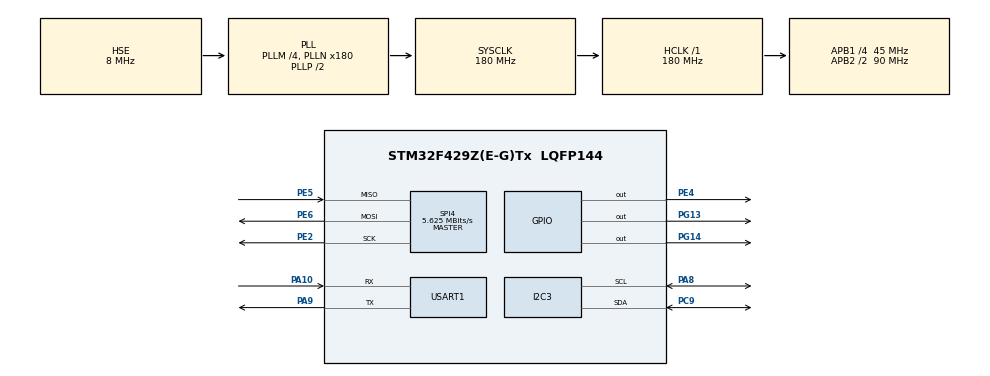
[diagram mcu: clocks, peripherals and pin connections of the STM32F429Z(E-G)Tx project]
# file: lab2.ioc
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I2C3.I2C_Mode=I2C_Fast
Mcu.Family=STM32F4
Mcu.Name=STM32F429Z(E-G)Tx
Mcu.Package=LQFP144
NVIC.PriorityGroup=NVIC_PRIORITYGROUP_4
NVIC.RCC_IRQn=true\:0\:0\:false\:false\:true\:true\:false\:true
NVIC.USART1_IRQn=true\:0\:0\:false\:false\:true\:true\:true\:true
PA10.Mode=Asynchronous
PA10.Signal=USART1_RX
PA13.Mode=Serial_Wire
PA13.Signal=SYS_JTMS-SWDIO
PA14.Mode=Serial_Wire
PA14.Signal=SYS_JTCK-SWCLK
PA8.Mode=I2C
PA8.Signal=I2C3_SCL
PA9.Mode=Asynchronous
PA9.Signal=USART1_TX
PC9.Mode=I2C
PC9.Signal=I2C3_SDA
PE2.Mode=Full_Duplex_Master
PE2.Signal=SPI4_SCK
PE4.Signal=GPIO_Output
PE5.Mode=Full_Duplex_Master
PE5.Signal=SPI4_MISO
PE6.Mode=Full_Duplex_Master
PE6.Signal=SPI4_MOSI
PG13.Signal=GPIO_Output
PG14.Signal=GPIO_Output
PH0/OSC_IN.Mode=HSE-External-Oscillator
PH0/OSC_IN.Signal=RCC_OSC_IN
PH1/OSC_OUT.Mode=HSE-External-Oscillator
PH1/OSC_OUT.Signal=RCC_OSC_OUT
ProjectManager.HeapSize=0x200
ProjectManager.StackSize=0x400
ProjectManager.TargetToolchain=STM32CubeIDE
RCC.48MHZClocksFreq_Value=90000000
RCC.AHBFreq_Value=180000000
RCC.APB1CLKDivider=RCC_HCLK_DIV4
RCC.APB1Freq_Value=45000000
RCC.APB1TimFreq_Value=90000000
RCC.APB2CLKDivider=RCC_HCLK_DIV2
RCC.APB2Freq_Value=90000000
RCC.APB2TimFreq_Value=180000000
RCC.CortexFreq_Value=180000000
RCC.HCLKFreq_Value=180000000
RCC.HSE_VALUE=8000000
RCC.HSI_VALUE=16000000
RCC.LSE_VALUE=32768
RCC.PLLM=4
RCC.PLLN=180
RCC.PLLSourceVirtual=RCC_PLLSOURCE_HSE
RCC.SYSCLKFreq_VALUE=180000000
RCC.SYSCLKSource=RCC_SYSCLKSOURCE_PLLCLK
RCC.VCOOutputFreq_Value=360000000
SPI4.BaudRatePrescaler=SPI_BAUDRATEPRESCALER_16
SPI4.CalculateBaudRate=5.625 MBits/s
SPI4.Direction=SPI_DIRECTION_2LINES
SPI4.Mode=SPI_MODE_MASTER
SPI4.VirtualType=VM_MASTER
USART1.Parity=PARITY_NONE
USART1.VirtualMode=VM_ASYNC
board=custom

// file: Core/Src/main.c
/* USER CODE BEGIN Header */
/**
  ******************************************************************************
  * @file           : main.c
  * @brief          : Main program body
  ******************************************************************************
  * @attention
  *
  * Copyright (c) 2025 STMicroelectronics.
  * All rights reserved.
  *
  * This software is licensed under terms that can be found in the LICENSE file
  * in the root directory of this software component.
  * If no LICENSE file comes with this software, it is provided AS-IS.
  *
  ******************************************************************************
  */
/* USER CODE END Header */
#include "main.h"

/* USER CODE BEGIN Includes */
#include "fonts.h"
#include "SH1106.h"
#include "tm_stm32f4_mfrc522.h"
/* USER CODE END Includes */

/* USER CODE BEGIN PD */
#define MAX_LOGS 100
#define MAX_KEYS 10
/* USER CODE END PD */

I2C_HandleTypeDef hi2c3;

SPI_HandleTypeDef hspi4;

UART_HandleTypeDef huart1;

/* USER CODE BEGIN PV */
uint8_t uart_rx;
/* USER CODE END PV */

void SystemClock_Config(void);
static void MX_GPIO_Init(void);
static void MX_I2C3_Init(void);
static void MX_SPI4_Init(void);
static void MX_USART1_UART_Init(void);

/* USER CODE BEGIN 0 */
// Hàm chuyển đổi binary sang BCD
uint8_t bin2bcd(uint8_t val) {
    return ((val / 10) << 4) | (val % 10);
}

// Hàm chuyển đổi BCD sang binary
uint8_t bcd2bin(uint8_t val) {
    return ((val >> 4) * 10) + (val & 0x0F);
}
struct Time {
    uint8_t sec;
    uint8_t min;
    uint8_t hour;
    uint8_t weekday;
    uint8_t day;
    uint8_t month;
    uint8_t year;
};

// Hàm ghi thời gian vào DS1307
    void SetTime(struct Time *time) {
        struct Time bcdTime;

        bcdTime.sec = bin2bcd(time->sec) & 0x7F; // Clear CH bit (bit7)
        bcdTime.min = bin2bcd(time->min);
        bcdTime.hour = bin2bcd(time->hour) & 0x3F; // 24-hour mode (bit6=0)
        bcdTime.weekday = bin2bcd(time->weekday);
        bcdTime.day = bin2bcd(time->day);
        bcdTime.month = bin2bcd(time->month);
        bcdTime.year = bin2bcd(time->year);

        HAL_I2C_Mem_Write(&hi2c3, 0xD0, 0, 1, (uint8_t *)&bcdTime, 7, 1000);
    }

    // Hàm đọc thời gian từ DS1307 (đã cập nhật xử lý BCD)
    void GetTime(struct Time *time) {
        struct Time bcdTime;
        HAL_I2C_Mem_Read(&hi2c3, 0xD1, 0, 1, (uint8_t *)&bcdTime, 7, 1000);

        time->sec = bcd2bin(bcdTime.sec & 0x7F); // Mask out CH bit
        time->min = bcd2bin(bcdTime.min);
        time->hour = bcd2bin(bcdTime.hour & 0x3F); // Mask out 12/24 mode bit
        time->weekday = bcd2bin(bcdTime.weekday);
        time->day = bcd2bin(bcdTime.day);
        time->month = bcd2bin(bcdTime.month);
        time->year = bcd2bin(bcdTime.year);
    }

uint8_t authKeys[MAX_KEYS][5];
int authCount = 1;

uint8_t cardID[5];
char buf[100];

// Hàm kiểm tra mã thẻ hợp lệ
int isAuthorized(uint8_t *id) {
    for (int i = 0; i < authCount; i++) {
        if (memcmp(id, authKeys[i], 5) == 0)
            return 1;
    }
    return 0;
}
typedef struct {
    uint8_t time[3];      // [giây, phút, giờ]
    uint8_t cardID[5];    // mã thẻ RFID
} DoorLog;
DoorLog logs[MAX_LOGS];
uint8_t logCount = 0;
void save_log(uint8_t *cardID, uint8_t *time) {
    if (logCount < MAX_LOGS) {
        memcpy(logs[logCount].cardID, cardID, 5);
        memcpy(logs[logCount].time, time, 3); // time[0]=sec, time[1]=min, time[2]=hour
        logCount++;
    }
}
void HAL_UART_RxCpltCallback(UART_HandleTypeDef *huart) {
    if (huart->Instance == USART1) {
        if (uart_rx == 'L') {
            show_logs();  // Gửi toàn bộ log khi nhận ký tự 'L'
        }

        // Nhận lại tiếp ký tự tiếp theo
        HAL_UART_Receive_IT(&huart1, &uart_rx, 1);
    }
}

void show_logs() {
    char buffer[100];
    for (int i = 0; i < logCount; i++) {
        sprintf(buffer, "Log %02d: %02X%02X%02X%02X%02X at %02d:%02d:%02d\r\n", i + 1,
                logs[i].cardID[0], logs[i].cardID[1], logs[i].cardID[2],
                logs[i].cardID[3], logs[i].cardID[4],
                logs[i].time[2], logs[i].time[1], logs[i].time[0]);
        HAL_UART_Transmit(&huart1, (uint8_t*)buffer, strlen(buffer), HAL_MAX_DELAY);
    }
}
/* USER CODE END 0 */

int main(void)
{

  /* MCU Configuration--------------------------------------------------------*/

  /* Reset of all peripherals, Initializes the Flash interface and the Systick. */
  HAL_Init();

  /* Configure the system clock */
  SystemClock_Config();

  /* Initialize all configured peripherals */
  MX_GPIO_Init();
  MX_I2C3_Init();
  MX_SPI4_Init();
  MX_USART1_UART_Init();
  /* USER CODE BEGIN 2 */
  TM_MFRC522_Init();
//  char buf[100];
//  uint8_t X = 0, Y = 0;
//  SH1106_Init ();
//
        char buff[30];
//
      uint8_t defaultCard[5] = {0xA3, 0x1E, 0x31, 0xB9, 0x35};
      memcpy(authKeys[0], defaultCard, 5);
      authCount = 1;
      struct Time currentTime = {
           .sec = 50,
           .min = 59,
           .hour = 23,
           .weekday = 5,
           .day = 17,
           .month = 4,
           .year = 25
       };
       SetTime(&currentTime);  // Gọi một lần để set thời gian ban đầu

  /* USER CODE END 2 */

  /* Infinite loop */
  /* USER CODE BEGIN WHILE */
  while (1)
  {
	  HAL_UART_Receive_IT(&huart1, &uart_rx, 1); // bắt đầu nhận UART
	  GetTime(&currentTime);
      SH1106_Fill(0);

	          if (TM_MFRC522_Check(cardID) == MI_OK) {
	              HAL_GPIO_WritePin(GPIOG, GPIO_PIN_13, GPIO_PIN_SET);

	              if (isAuthorized(cardID)) {
	                  HAL_GPIO_WritePin(GPIOG, GPIO_PIN_14, GPIO_PIN_SET);
	                  SH1106_GotoXY(10, 10);
	                  SH1106_Puts("Welcome", &Font_11x18, 1);
	                  SH1106_UpdateScreen();
	                  struct Time readTime;
	                  GetTime(&readTime);
	                  sprintf(buff, "%02d:%02d:%02d - %02d - %02d/%02d/%02d\r\n",
	                                  readTime.hour,
	                                  readTime.min,
	                                  readTime.sec,
	                                  readTime.weekday,
	                                  readTime.day,
	                                  readTime.month,
	                                  readTime.year);
	                          HAL_Delay(500);
	                                    HAL_UART_Transmit(&huart1, (uint8_t*)buff, strlen(buff), 1000);
	                                    HAL_Delay(500);
	                                    char time[3];
	              	                  sprintf(time, "%02d:%02d:%02d - %02d - %02d/%02d/%02d\r\n",
	              	                                  readTime.hour,
	              	                                  readTime.min,
	              	                                  readTime.sec,
	              	                                  readTime.weekday,
	              	                                  readTime.day,
	              	                                  readTime.month,
	              	                                  readTime.year);
	                                    save_log(cardID, time);

	              } else {
	                  SH1106_GotoXY(10, 10);
	                  SH1106_Puts("Rejected", &Font_11x18, 1);
	                  SH1106_UpdateScreen();
	              }
	              HAL_Delay(1000);
	          } else {
	              HAL_GPIO_WritePin(GPIOG, GPIO_PIN_13, GPIO_PIN_RESET);
	              HAL_GPIO_WritePin(GPIOG, GPIO_PIN_14, GPIO_PIN_RESET);
	          }

	          HAL_Delay(200);
    /* USER CODE END WHILE */

  }
}

void SystemClock_Config(void)
{
  RCC_OscInitTypeDef RCC_OscInitStruct = {0};
  RCC_ClkInitTypeDef RCC_ClkInitStruct = {0};

  /** Configure the main internal regulator output voltage
  */
  __HAL_RCC_PWR_CLK_ENABLE();
  __HAL_PWR_VOLTAGESCALING_CONFIG(PWR_REGULATOR_VOLTAGE_SCALE1);

  /** Initializes the RCC Oscillators according to the specified parameters
  * in the RCC_OscInitTypeDef structure.
  */
  RCC_OscInitStruct.OscillatorType = RCC_OSCILLATORTYPE_HSE;
  RCC_OscInitStruct.HSEState = RCC_HSE_ON;
  RCC_OscInitStruct.PLL.PLLState = RCC_PLL_ON;
  RCC_OscInitStruct.PLL.PLLSource = RCC_PLLSOURCE_HSE;
  RCC_OscInitStruct.PLL.PLLM = 4;
  RCC_OscInitStruct.PLL.PLLN = 180;
  RCC_OscInitStruct.PLL.PLLP = RCC_PLLP_DIV2;
  RCC_OscInitStruct.PLL.PLLQ = 4;
  if (HAL_RCC_OscConfig(&RCC_OscInitStruct) != HAL_OK)
  {
    Error_Handler();
  }

  /** Activate the Over-Drive mode
  */
  if (HAL_PWREx_EnableOverDrive() != HAL_OK)
  {
    Error_Handler();
  }

  /** Initializes the CPU, AHB and APB buses clocks
  */
  RCC_ClkInitStruct.ClockType = RCC_CLOCKTYPE_HCLK|RCC_CLOCKTYPE_SYSCLK
                              |RCC_CLOCKTYPE_PCLK1|RCC_CLOCKTYPE_PCLK2;
  RCC_ClkInitStruct.SYSCLKSource = RCC_SYSCLKSOURCE_PLLCLK;
  RCC_ClkInitStruct.AHBCLKDivider = RCC_SYSCLK_DIV1;
  RCC_ClkInitStruct.APB1CLKDivider = RCC_HCLK_DIV4;
  RCC_ClkInitStruct.APB2CLKDivider = RCC_HCLK_DIV2;

  if (HAL_RCC_ClockConfig(&RCC_ClkInitStruct, FLASH_LATENCY_5) != HAL_OK)
  {
    Error_Handler();
  }
}

static void MX_I2C3_Init(void)
{

  hi2c3.Instance = I2C3;
  hi2c3.Init.ClockSpeed = 400000;
  hi2c3.Init.DutyCycle = I2C_DUTYCYCLE_2;
  hi2c3.Init.OwnAddress1 = 0;
  hi2c3.Init.AddressingMode = I2C_ADDRESSINGMODE_7BIT;
  hi2c3.Init.DualAddressMode = I2C_DUALADDRESS_DISABLE;
  hi2c3.Init.OwnAddress2 = 0;
  hi2c3.Init.GeneralCallMode = I2C_GENERALCALL_DISABLE;
  hi2c3.Init.NoStretchMode = I2C_NOSTRETCH_DISABLE;
  if (HAL_I2C_Init(&hi2c3) != HAL_OK)
  {
    Error_Handler();
  }

  /** Configure Analogue filter
  */
  if (HAL_I2CEx_ConfigAnalogFilter(&hi2c3, I2C_ANALOGFILTER_ENABLE) != HAL_OK)
  {
    Error_Handler();
  }

  /** Configure Digital filter
  */
  if (HAL_I2CEx_ConfigDigitalFilter(&hi2c3, 0) != HAL_OK)
  {
    Error_Handler();
  }

}

static void MX_SPI4_Init(void)
{

  /* SPI4 parameter configuration*/
  hspi4.Instance = SPI4;
  hspi4.Init.Mode = SPI_MODE_MASTER;
  hspi4.Init.Direction = SPI_DIRECTION_2LINES;
  hspi4.Init.DataSize = SPI_DATASIZE_8BIT;
  hspi4.Init.CLKPolarity = SPI_POLARITY_LOW;
  hspi4.Init.CLKPhase = SPI_PHASE_1EDGE;
  hspi4.Init.NSS = SPI_NSS_SOFT;
  hspi4.Init.BaudRatePrescaler = SPI_BAUDRATEPRESCALER_16;
  hspi4.Init.FirstBit = SPI_FIRSTBIT_MSB;
  hspi4.Init.TIMode = SPI_TIMODE_DISABLE;
  hspi4.Init.CRCCalculation = SPI_CRCCALCULATION_DISABLE;
  hspi4.Init.CRCPolynomial = 10;
  if (HAL_SPI_Init(&hspi4) != HAL_OK)
  {
    Error_Handler();
  }

}

static void MX_USART1_UART_Init(void)
{

  huart1.Instance = USART1;
  huart1.Init.BaudRate = 115200;
  huart1.Init.WordLength = UART_WORDLENGTH_8B;
  huart1.Init.StopBits = UART_STOPBITS_1;
  huart1.Init.Parity = UART_PARITY_NONE;
  huart1.Init.Mode = UART_MODE_TX_RX;
  huart1.Init.HwFlowCtl = UART_HWCONTROL_NONE;
  huart1.Init.OverSampling = UART_OVERSAMPLING_16;
  if (HAL_UART_Init(&huart1) != HAL_OK)
  {
    Error_Handler();
  }

}

static void MX_GPIO_Init(void)
{
  GPIO_InitTypeDef GPIO_InitStruct = {0};

  /* GPIO Ports Clock Enable */
  __HAL_RCC_GPIOE_CLK_ENABLE();
  __HAL_RCC_GPIOH_CLK_ENABLE();
  __HAL_RCC_GPIOC_CLK_ENABLE();
  __HAL_RCC_GPIOA_CLK_ENABLE();
  __HAL_RCC_GPIOG_CLK_ENABLE();

  /*Configure GPIO pin Output Level */
  HAL_GPIO_WritePin(GPIOE, GPIO_PIN_4, GPIO_PIN_RESET);

  /*Configure GPIO pin Output Level */
  HAL_GPIO_WritePin(GPIOG, GPIO_PIN_13|GPIO_PIN_14, GPIO_PIN_RESET);

  /*Configure GPIO pin : PE4 */
  GPIO_InitStruct.Pin = GPIO_PIN_4;
  GPIO_InitStruct.Mode = GPIO_MODE_OUTPUT_PP;
  GPIO_InitStruct.Pull = GPIO_NOPULL;
  GPIO_InitStruct.Speed = GPIO_SPEED_FREQ_LOW;
  HAL_GPIO_Init(GPIOE, &GPIO_InitStruct);

  /*Configure GPIO pins : PG13 PG14 */
  GPIO_InitStruct.Pin = GPIO_PIN_13|GPIO_PIN_14;
  GPIO_InitStruct.Mode = GPIO_MODE_OUTPUT_PP;
  GPIO_InitStruct.Pull = GPIO_NOPULL;
  GPIO_InitStruct.Speed = GPIO_SPEED_FREQ_LOW;
  HAL_GPIO_Init(GPIOG, &GPIO_InitStruct);

}

void Error_Handler(void)
{
  __disable_irq();
  while (1)
  {
  }
}
